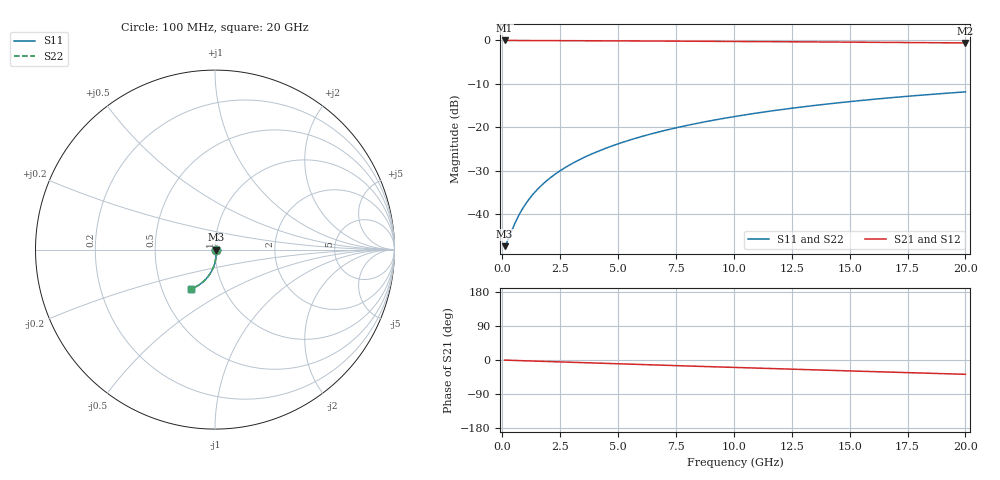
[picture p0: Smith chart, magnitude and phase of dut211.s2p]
! Touchstone file exported from HFSS 2026.1.0
!  File:  C:/ffzhzh/LocalFiles/Ansys_Project_Files/temp_train_BSMRDL_211_1782987885_41620.aedt
!  Generated:  06:26:03 PM Jul  2, 2026
!  Design:  BSMRDL
!  Project:  temp_train_BSMRDL_211_1782987885_41620
! Variables:
!  h_bsmrdl = 5.03um
!  h_ox = 20um
!  h_rdl = 5um
!  h_sub = 80um
!  h_tmrdl = 5um
!  h_tsv = 80um
!  h_via = 3um
!  l_bsmrdl = 616.33um
!  l_sub = 1016.33um
!  l_tmrdl = 200um
!  m_sub = 200um
!  pitch = 12.04um
!  r_tsv = 6um
!  s_tmrdl = 10um
!  w_bsmrdl = 10.51um
!  w_sub = 500um
!  w_tmrdl = 12um
!  x_tsv_center1 = 206um
!  x_tsv_center2 = 832.84um
!  x_tsv_center3 = 1044.84um
!  x_tsv_center4 = 1671.68um
!  x_tsv_center5 = 1883.68um
!  x_tsv_center6 = 2510.52um
# GHz S MA R 50.000000
! Terminal data exported
! Port[1] = BSM_RDL1_1_T1
! Port[2] = BSM_RDL1_1_T2
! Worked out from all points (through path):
!   200 points, 100 MHz to 20 GHz, reference 50 ohm
!   highest |S21| = -0.04 dB at 100 MHz (marker M1); lowest = -0.6 dB at 20 GHz (marker M2)
!   group delay of S21, straight-line fit = 5.22 ps
!   lowest |S11| = -47.3 dB at 100 MHz (marker M3), VSWR 1.01, Z = 50.4 - j0.0614 ohm
!   |S11| at or under -10 dB: start of sweep to end of sweep
!   |S22| runs from -47.3 to -11.9 dB; largest |S21 - S12| = 2.8e-15
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0.1  0.004295 -8.1  0.9957 -0.2  0.9957 -0.2  0.004295 -8.1
! Gamma 0 0 0 0
! Port Impedance 50 0 50 0
0.2  0.004783 -16.5  0.9954 -0.5  0.9954 -0.5  0.004783 -16.5
0.5  0.007387 -38.8  0.9941 -1.1  0.9941 -1.1  0.007386 -38.8
0.6  0.008449 -44.5  0.9938 -1.3  0.9938 -1.3  0.008448 -44.5
0.8  0.0107 -53.3  0.9933 -1.7  0.9933 -1.7  0.0107 -53.3
0.9  0.01186 -56.7  0.9931 -1.9  0.9931 -1.9  0.01186 -56.7
1.1  0.01424 -62.1  0.9928 -2.3  0.9928 -2.3  0.01424 -62.1
1.4  0.01788 -67.9  0.9923 -2.9  0.9923 -2.9  0.01788 -67.9
1.8  0.02283 -73.1  0.9917 -3.7  0.9917 -3.7  0.02282 -73.1
2.3  0.02911 -77.4  0.9909 -4.7  0.9909 -4.7  0.02911 -77.4
2.9  0.03678 -81.0  0.9899 -5.9  0.9899 -5.9  0.03678 -81.0
3.5  0.04458 -83.6  0.9886 -7.1  0.9886 -7.1  0.04457 -83.6
4.2  0.0538 -86.1  0.9871 -8.5  0.9871 -8.5  0.0538 -86.2
5  0.0645 -88.6  0.9851 -10.0  0.9851 -10.0  0.0645 -88.6
5.9  0.07668 -91.0  0.9827 -11.8  0.9827 -11.8  0.07667 -91.1
6.8  0.08895 -93.3  0.9801 -13.5  0.9801 -13.5  0.08894 -93.3
8.4  0.1108 -97.1  0.9754 -16.6  0.9754 -16.6  0.1108 -97.2
10.1  0.1338 -101.0  0.97 -19.8  0.97 -19.8  0.1338 -101.0
11.7  0.1551 -104.4  0.9646 -22.8  0.9646 -22.8  0.1551 -104.5
13.4  0.1771 -108.0  0.9587 -25.9  0.9587 -25.9  0.1771 -108.1
16.7  0.2178 -114.6  0.9462 -31.9  0.9462 -31.9  0.2177 -114.7
20  0.2552 -120.9  0.9329 -37.8  0.9329 -37.8  0.2552 -121.0
